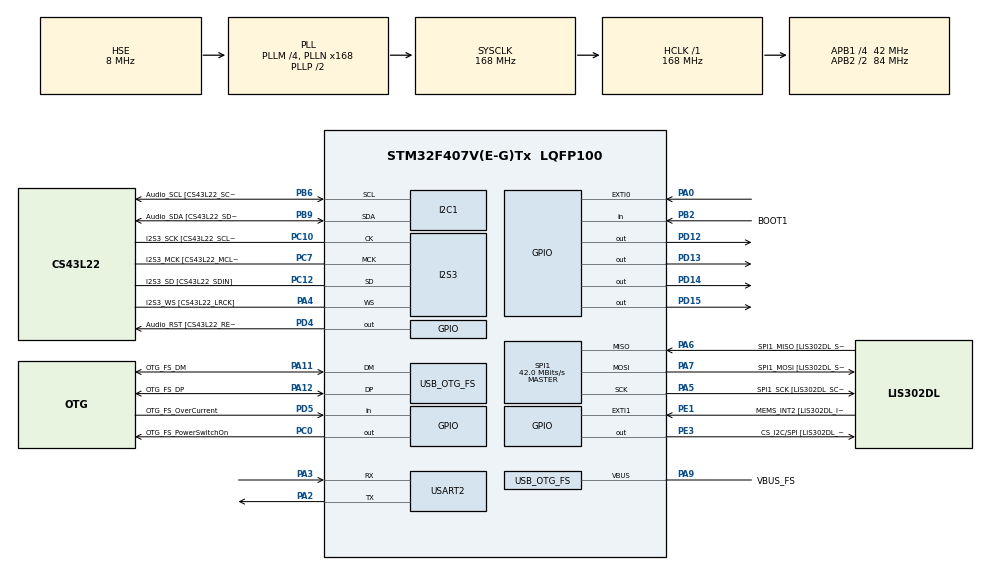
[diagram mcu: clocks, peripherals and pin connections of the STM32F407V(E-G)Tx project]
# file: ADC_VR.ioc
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ADC1.Channel-2\#ChannelRegularConversion=ADC_CHANNEL_TEMPSENSOR
ADC1.ContinuousConvMode=ENABLE
ADC1.NbrOfConversionFlag=1
ADC1.Rank-2\#ChannelRegularConversion=1
ADC1.SamplingTime-2\#ChannelRegularConversion=ADC_SAMPLETIME_84CYCLES
ADC1.master=1
I2S3.AudioFreq-Half_Duplex_Master=I2S_AUDIOFREQ_96K
I2S3.ErrorAudioFreq=-2.34 %
I2S3.ErrorAudioFreq-Half_Duplex_Master=0.8 %
I2S3.FullDuplexMode=I2S_FULLDUPLEXMODE_DISABLE
I2S3.Instance=SPI$Index
I2S3.RealAudioFreq=93.75 KHz
I2S3.RealAudioFreq-Half_Duplex_Master=96.774 KHz
I2S3.VirtualMode=I2S_MODE_MASTER
Mcu.Family=STM32F4
Mcu.Name=STM32F407V(E-G)Tx
Mcu.Package=LQFP100
NVIC.EXTI0_IRQn=true\:0\:0\:false\:true\:true\:1\:true\:true
NVIC.OTG_FS_IRQn=true\:0\:0\:false\:false\:true\:true\:true
NVIC.PriorityGroup=NVIC_PRIORITYGROUP_0
NVIC.TIM7_IRQn=true\:0\:0\:false\:true\:true\:2\:true\:true
NVIC.USART2_IRQn=true\:0\:0\:false\:true\:true\:3\:true\:true
PA0-WKUP.Signal=GPXTI0
PA10.GPIO_Label=OTG_FS_ID
PA10.GPIO_Mode=GPIO_MODE_AF_PP
PA10.GPIO_PuPd=GPIO_NOPULL
PA10.GPIO_Speed=GPIO_SPEED_FREQ_LOW
PA10.Signal=USB_OTG_FS_ID
PA11.GPIO_Label=OTG_FS_DM
PA11.GPIO_Mode=GPIO_MODE_AF_PP
PA11.GPIO_PuPd=GPIO_NOPULL
PA11.GPIO_Speed=GPIO_SPEED_FREQ_LOW
PA11.Mode=Host_Only
PA11.Signal=USB_OTG_FS_DM
PA12.GPIO_Label=OTG_FS_DP
PA12.GPIO_Mode=GPIO_MODE_AF_PP
PA12.GPIO_PuPd=GPIO_NOPULL
PA12.GPIO_Speed=GPIO_SPEED_FREQ_LOW
PA12.Mode=Host_Only
PA12.Signal=USB_OTG_FS_DP
PA13.GPIO_Label=SWDIO
PA13.Mode=Serial_Wire
PA13.Signal=SYS_JTMS-SWDIO
PA14.GPIO_Label=SWCLK
PA14.Mode=Serial_Wire
PA14.Signal=SYS_JTCK-SWCLK
PA2.Mode=Asynchronous
PA2.Signal=USART2_TX
PA3.Mode=Asynchronous
PA3.Signal=USART2_RX
PA4.GPIO_Label=I2S3_WS [CS43L22_LRCK]
PA4.GPIO_Mode=GPIO_MODE_AF_PP
PA4.GPIO_PuPd=GPIO_NOPULL
PA4.GPIO_Speed=GPIO_SPEED_FREQ_LOW
PA4.Mode=Half_Duplex_Master
PA4.Signal=I2S3_WS
PA5.GPIO_Label=SPI1_SCK [LIS302DL_SCL/SPC]
PA5.GPIO_Mode=GPIO_MODE_AF_PP
PA5.GPIO_PuPd=GPIO_NOPULL
PA5.GPIO_Speed=GPIO_SPEED_FREQ_LOW
PA5.Mode=Full_Duplex_Master
PA5.Signal=SPI1_SCK
PA6.GPIO_Label=SPI1_MISO [LIS302DL_SDO]
PA6.GPIO_Mode=GPIO_MODE_AF_PP
PA6.GPIO_PuPd=GPIO_NOPULL
PA6.GPIO_Speed=GPIO_SPEED_FREQ_LOW
PA6.Mode=Full_Duplex_Master
PA6.Signal=SPI1_MISO
PA7.GPIO_Label=SPI1_MOSI [LIS302DL_SDA/SDI/SDO]
PA7.GPIO_Mode=GPIO_MODE_AF_PP
PA7.GPIO_PuPd=GPIO_NOPULL
PA7.GPIO_Speed=GPIO_SPEED_FREQ_LOW
PA7.Mode=Full_Duplex_Master
PA7.Signal=SPI1_MOSI
PA9.GPIO_Label=VBUS_FS
PA9.GPIO_Mode=GPIO_MODE_INPUT
PA9.GPIO_PuPd=GPIO_NOPULL
PA9.Mode=Activate_VBUS
PA9.Signal=USB_OTG_FS_VBUS
PB10.GPIO_Label=CLK_IN [MP45DT02_CLK]
PB10.GPIO_Mode=GPIO_MODE_AF_PP
PB10.GPIO_PuPd=GPIO_NOPULL
PB10.GPIO_Speed=GPIO_SPEED_FREQ_LOW
PB10.Signal=I2S2_CK
PB2.GPIO_Label=BOOT1
PB2.GPIO_Mode=GPIO_MODE_INPUT
PB2.GPIO_PuPd=GPIO_NOPULL
PB2.Signal=GPIO_Input
PB3.GPIO_Label=SWO
PB3.Signal=SYS_JTDO-SWO
PB6.GPIO_Label=Audio_SCL [CS43L22_SCL]
PB6.GPIO_Mode=GPIO_MODE_AF_OD
PB6.GPIO_PuPd=GPIO_NOPULL
PB6.GPIO_Speed=GPIO_SPEED_FREQ_LOW
PB6.Mode=I2C
PB6.Signal=I2C1_SCL
PB9.GPIO_Label=Audio_SDA [CS43L22_SDA]
PB9.GPIO_Mode=GPIO_MODE_AF_OD
PB9.GPIO_PuPd=GPIO_NOPULL
PB9.GPIO_Speed=GPIO_SPEED_FREQ_LOW
PB9.Mode=I2C
PB9.Signal=I2C1_SDA
PC0.GPIO_Label=OTG_FS_PowerSwitchOn
PC0.GPIO_PuPd=GPIO_NOPULL
PC0.GPIO_Speed=GPIO_SPEED_FREQ_LOW
PC0.PinState=GPIO_PIN_SET
PC0.Signal=GPIO_Output
PC10.GPIO_Label=I2S3_SCK [CS43L22_SCLK]
PC10.GPIO_Mode=GPIO_MODE_AF_PP
PC10.GPIO_PuPd=GPIO_NOPULL
PC10.GPIO_Speed=GPIO_SPEED_FREQ_LOW
PC10.Mode=Half_Duplex_Master
PC10.Signal=I2S3_CK
PC12.GPIO_Label=I2S3_SD [CS43L22_SDIN]
PC12.GPIO_Mode=GPIO_MODE_AF_PP
PC12.GPIO_PuPd=GPIO_NOPULL
PC12.GPIO_Speed=GPIO_SPEED_FREQ_LOW
PC12.Mode=Half_Duplex_Master
PC12.Signal=I2S3_SD
PC14-OSC32_IN.GPIO_Label=PC14-OSC32_IN
PC14-OSC32_IN.Mode=LSE-External-Oscillator
PC14-OSC32_IN.Signal=RCC_OSC32_IN
PC15-OSC32_OUT.GPIO_Label=PC15-OSC32_OUT
PC15-OSC32_OUT.Mode=LSE-External-Oscillator
PC15-OSC32_OUT.Signal=RCC_OSC32_OUT
PC3.GPIO_Label=PDM_OUT [MP45DT02_DOUT]
PC3.GPIO_Mode=GPIO_MODE_AF_PP
PC3.GPIO_PuPd=GPIO_NOPULL
PC3.GPIO_Speed=GPIO_SPEED_FREQ_LOW
PC3.Signal=I2S2_SD
PC7.GPIO_Label=I2S3_MCK [CS43L22_MCLK]
PC7.GPIO_Mode=GPIO_MODE_AF_PP
PC7.GPIO_PuPd=GPIO_NOPULL
PC7.GPIO_Speed=GPIO_SPEED_FREQ_LOW
PC7.Mode=Master_Clock_Activated
PC7.Signal=I2S3_MCK
PD12.Signal=GPIO_Output
PD13.Signal=GPIO_Output
PD14.Signal=GPIO_Output
PD15.Signal=GPIO_Output
PD4.GPIO_Label=Audio_RST [CS43L22_RESET]
PD4.GPIO_PuPd=GPIO_NOPULL
PD4.GPIO_Speed=GPIO_SPEED_FREQ_LOW
PD4.Signal=GPIO_Output
PD5.GPIO_Label=OTG_FS_OverCurrent
PD5.GPIO_Mode=GPIO_MODE_INPUT
PD5.GPIO_PuPd=GPIO_NOPULL
PD5.Signal=GPIO_Input
PE1.GPIO_Label=MEMS_INT2 [LIS302DL_INT2]
PE1.GPIO_ModeDefaultEXTI=GPIO_MODE_EVT_RISING
PE1.GPIO_PuPd=GPIO_NOPULL
PE1.Signal=GPXTI1
PE3.GPIO_Label=CS_I2C/SPI [LIS302DL_CS_I2C/SPI]
PE3.GPIO_PuPd=GPIO_NOPULL
PE3.GPIO_Speed=GPIO_SPEED_FREQ_LOW
PE3.Signal=GPIO_Output
PH0-OSC_IN.GPIO_Label=PH0-OSC_IN
PH0-OSC_IN.Mode=HSE-External-Oscillator
PH0-OSC_IN.Signal=RCC_OSC_IN
PH1-OSC_OUT.GPIO_Label=PH1-OSC_OUT
PH1-OSC_OUT.Mode=HSE-External-Oscillator
PH1-OSC_OUT.Signal=RCC_OSC_OUT
ProjectManager.HeapSize=0x200
ProjectManager.StackSize=0x400
ProjectManager.TargetToolchain=STM32CubeIDE
RCC.48MHZClocksFreq_Value=48000000
RCC.AHBFreq_Value=168000000
RCC.APB1CLKDivider=RCC_HCLK_DIV4
RCC.APB1Freq_Value=42000000
RCC.APB1TimFreq_Value=84000000
RCC.APB2CLKDivider=RCC_HCLK_DIV2
RCC.APB2Freq_Value=84000000
RCC.APB2TimFreq_Value=168000000
RCC.CortexFreq_Value=168000000
RCC.HCLKFreq_Value=168000000
RCC.HSE_VALUE=8000000
RCC.HSI_VALUE=16000000
RCC.PLLM=4
RCC.PLLN=168
RCC.PLLQ=7
RCC.SYSCLKFreq_VALUE=168000000
RCC.SYSCLKSource=RCC_SYSCLKSOURCE_PLLCLK
RCC.VCOOutputFreq_Value=336000000
SPI1.BaudRatePrescaler=SPI_BAUDRATEPRESCALER_2
SPI1.BaudRatePrescaler-Full_Duplex_Master=SPI_BAUDRATEPRESCALER_2
SPI1.CalculateBaudRate=42.0 MBits/s
SPI1.CalculateBaudRate-Full_Duplex_Master=42.0 MBits/s
SPI1.Direction=SPI_DIRECTION_2LINES
SPI1.Mode=SPI_MODE_MASTER
SPI1.Mode-Full_Duplex_Master=SPI_MODE_MASTER
SPI1.VirtualType=VM_MASTER
TIM7.Period=8400-1
TIM7.Prescaler=1000-1
USART2.VirtualMode=VM_ASYNC
USB_HOST.BSP.number=1
USB_HOST.USBH_HandleTypeDef-CDC_FS=hUsbHostFS
USB_HOST.VirtualModeFS=Cdc
USB_HOST0.BSP.STBoard=false
USB_HOST0.BSP.api=Unknown
USB_HOST0.BSP.i2caddr=0
USB_HOST0.BSP.i2creg=0
USB_HOST0.BSP.instance=PC0
USB_HOST0.BSP.ip=GPIO
USB_HOST0.BSP.mode=Output
USB_HOST0.BSP.name=Drive_VBUS_FS
USB_HOST0.BSP.solution=PC0
USB_OTG_FS.VirtualMode=Host_Only
USB_OTG_FS.phy_itface=HCD_PHY_EMBEDDED
VP_ADC1_TempSens_Input.Mode=IN-TempSens
VP_TIM7_VS_ClockSourceINT.Mode=Enable_Timer
VP_USB_HOST_VS_USB_HOST_CDC_FS.Mode=CDC_FS
board=STM32F407G-DISC1

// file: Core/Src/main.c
/* USER CODE BEGIN Header */
/**
  ******************************************************************************
  * @file           : main.c
  * @brief          : Main program body
  ******************************************************************************
  * @attention
  *
  * <h2><center>&copy; Copyright (c) 2020 STMicroelectronics.
  * All rights reserved.</center></h2>
  *
  * This software component is licensed by ST under Ultimate Liberty license
  * SLA0044, the "License"; You may not use this file except in compliance with
  * the License. You may obtain a copy of the License at:
  *                             www.st.com/SLA0044
  *
  ******************************************************************************
  */
/* USER CODE END Header */

#include "main.h"
#include "adc.h"
#include "i2c.h"
#include "i2s.h"
#include "spi.h"
#include "tim.h"
#include "usart.h"
#include "usb_host.h"
#include "gpio.h"

/* USER CODE BEGIN Includes */
#include <stdio.h>
/* USER CODE END Includes */

/* USER CODE BEGIN PD */
#define ALL_LEDS	(GPIO_PIN_12 | GPIO_PIN_13 | GPIO_PIN_14 | GPIO_PIN_15)
/* USER CODE END PD */

/* USER CODE BEGIN PV */
uint8_t ADCflag = 0;
uint32_t ADC1ConvertedVoltage;
uint32_t ADC1ConvertedValue;
/* USER CODE END PV */

void SystemClock_Config(void);
static void MX_NVIC_Init(void);
void MX_USB_HOST_Process(void);

/* USER CODE BEGIN PFP */
int _write(int file, char* p, int len)
{
	HAL_UART_Transmit(&huart2, p, len, 10);
	return len;
}
/* USER CODE END PFP */

int main(void)
{

  /* MCU Configuration--------------------------------------------------------*/

  /* Reset of all peripherals, Initializes the Flash interface and the Systick. */
  HAL_Init();

  /* Configure the system clock */
  SystemClock_Config();

  /* Initialize all configured peripherals */
  MX_GPIO_Init();
  MX_I2C1_Init();
  MX_I2S3_Init();
  MX_SPI1_Init();
  MX_USB_HOST_Init();
  MX_TIM7_Init();
  MX_USART2_UART_Init();
  MX_ADC1_Init();

  /* Initialize interrupts */
  MX_NVIC_Init();
  /* USER CODE BEGIN 2 */
//  HAL_TIM_Base_Start_IT(&htim7);
//  HAL_ADC_Start_DMA(&hadc1, &ADC1ConvertedValue, 1);
  /* USER CODE END 2 */

  /* Infinite loop */
  /* USER CODE BEGIN WHILE */
  if(HAL_ADC_Start(&hadc1) != HAL_OK)
  {
	  Error_Handler();
  }

  uint16_t adc1;
  while (1)
  {
	  HAL_ADC_PollForConversion(&hadc1, 100);
	  adc1 = HAL_ADC_GetValue(&hadc1);
	  printf("ADC1_temperature: %d \n", adc1);
//	  if(ADCflag == 1)
//	  {
//		  ADCflag = 0;
//		  ADCTest();
//	  }
//
//	  printf("%d \n", ADC1ConvertedVoltage);
//	  HAL_Delay(1000);
    /* USER CODE END WHILE */
    MX_USB_HOST_Process();

    /* USER CODE BEGIN 3 */
    HAL_Delay(100);
  }
  /* USER CODE END 3 */
}

void SystemClock_Config(void)
{
  RCC_OscInitTypeDef RCC_OscInitStruct = {0};
  RCC_ClkInitTypeDef RCC_ClkInitStruct = {0};
  RCC_PeriphCLKInitTypeDef PeriphClkInitStruct = {0};

  /** Configure the main internal regulator output voltage
  */
  __HAL_RCC_PWR_CLK_ENABLE();
  __HAL_PWR_VOLTAGESCALING_CONFIG(PWR_REGULATOR_VOLTAGE_SCALE1);
  /** Initializes the CPU, AHB and APB busses clocks
  */
  RCC_OscInitStruct.OscillatorType = RCC_OSCILLATORTYPE_HSE;
  RCC_OscInitStruct.HSEState = RCC_HSE_ON;
  RCC_OscInitStruct.PLL.PLLState = RCC_PLL_ON;
  RCC_OscInitStruct.PLL.PLLSource = RCC_PLLSOURCE_HSE;
  RCC_OscInitStruct.PLL.PLLM = 4;
  RCC_OscInitStruct.PLL.PLLN = 168;
  RCC_OscInitStruct.PLL.PLLP = RCC_PLLP_DIV2;
  RCC_OscInitStruct.PLL.PLLQ = 7;
  if (HAL_RCC_OscConfig(&RCC_OscInitStruct) != HAL_OK)
  {
    Error_Handler();
  }
  /** Initializes the CPU, AHB and APB busses clocks
  */
  RCC_ClkInitStruct.ClockType = RCC_CLOCKTYPE_HCLK|RCC_CLOCKTYPE_SYSCLK
                              |RCC_CLOCKTYPE_PCLK1|RCC_CLOCKTYPE_PCLK2;
  RCC_ClkInitStruct.SYSCLKSource = RCC_SYSCLKSOURCE_PLLCLK;
  RCC_ClkInitStruct.AHBCLKDivider = RCC_SYSCLK_DIV1;
  RCC_ClkInitStruct.APB1CLKDivider = RCC_HCLK_DIV4;
  RCC_ClkInitStruct.APB2CLKDivider = RCC_HCLK_DIV2;

  if (HAL_RCC_ClockConfig(&RCC_ClkInitStruct, FLASH_LATENCY_5) != HAL_OK)
  {
    Error_Handler();
  }
  PeriphClkInitStruct.PeriphClockSelection = RCC_PERIPHCLK_I2S;
  PeriphClkInitStruct.PLLI2S.PLLI2SN = 192;
  PeriphClkInitStruct.PLLI2S.PLLI2SR = 2;
  if (HAL_RCCEx_PeriphCLKConfig(&PeriphClkInitStruct) != HAL_OK)
  {
    Error_Handler();
  }
}

/**
  * @brief NVIC Configuration.
  * @retval None
  */
static void MX_NVIC_Init(void)
{
  /* EXTI0_IRQn interrupt configuration */
  HAL_NVIC_SetPriority(EXTI0_IRQn, 0, 0);
  HAL_NVIC_EnableIRQ(EXTI0_IRQn);
  /* TIM7_IRQn interrupt configuration */
  HAL_NVIC_SetPriority(TIM7_IRQn, 0, 0);
  HAL_NVIC_EnableIRQ(TIM7_IRQn);
  /* USART2_IRQn interrupt configuration */
  HAL_NVIC_SetPriority(USART2_IRQn, 0, 0);
  HAL_NVIC_EnableIRQ(USART2_IRQn);
}

/* USER CODE BEGIN 4 */
void HAL_TIM_PeriodElapsedCallback(TIM_HandleTypeDef *htim)
{
	if(htim->Instance == TIM7)
	{
		ADCflag = 1;
	}
}

void ADCTest(void)
{
	ADC1ConvertedVoltage = ADC1ConvertedValue * 3300 / 4095;
	HAL_GPIO_WritePin(GPIOD, ALL_LEDS, GPIO_PIN_RESET);

	if(ADC1ConvertedVoltage > 500)
	{
		HAL_GPIO_WritePin(GPIOD, ALL_LEDS, GPIO_PIN_SET);
	}

}
/* USER CODE END 4 */

void Error_Handler(void)
{
}

/************************ (C) COPYRIGHT STMicroelectronics *****END OF FILE****/
